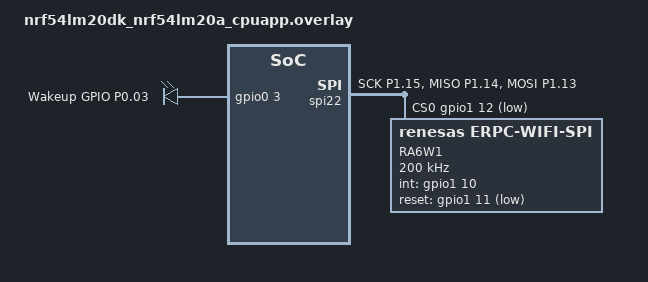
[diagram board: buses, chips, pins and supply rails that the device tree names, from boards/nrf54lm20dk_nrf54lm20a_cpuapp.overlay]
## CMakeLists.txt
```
cmake_minimum_required(VERSION 3.20.0)

find_package(Zephyr)
project(pnet_shell)

target_sources(app PRIVATE src/pnet_mqtt.c)
```

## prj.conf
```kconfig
# Copyright (c) 2025 Renesas Electronics Corporation
# SPDX-License-Identifier: Apache-2.0

CONFIG_POSIX_API=y
CONFIG_EVENTS=y

# GPIO Configuration
CONFIG_GPIO=y

# Wi-Fi Configuration
CONFIG_WIFI=y

# Shell
CONFIG_SHELL=y
CONFIG_SHELL_STACK_SIZE=10240

# Memory / stack
CONFIG_HEAP_MEM_POOL_SIZE=131072
CONFIG_INIT_STACKS=y
CONFIG_THREAD_STACK_INFO=y
CONFIG_STACK_CANARIES=y
CONFIG_SPIN_VALIDATE=n
CONFIG_MAIN_STACK_SIZE=10240
CONFIG_SYSTEM_WORKQUEUE_STACK_SIZE=10240
CONFIG_WIFI_ERPC_WIFI_WORKQ_STACK_SIZE=8192
CONFIG_WIFI_ERPC_WIFI_SERVER_THREAD_STACK_SIZE=8192
CONFIG_NET_SOCKETS_SERVICE_STACK_SIZE=4096
CONFIG_THREAD_LOCAL_STORAGE=n

# Network Configuration
CONFIG_NETWORKING=y
CONFIG_NET_NATIVE=y
CONFIG_NET_IPV4=y
CONFIG_NET_IPV6=n
CONFIG_NET_TCP=y
CONFIG_NET_DHCPV4=y
CONFIG_DNS_RESOLVER=y
CONFIG_DNS_RESOLVER_ADDITIONAL_QUERIES=2
CONFIG_NET_CONFIG_SETTINGS=y
CONFIG_NET_SOCKETS=y
CONFIG_NET_SOCKETS_OFFLOAD=y
CONFIG_NET_SOCKETS_DNS_TIMEOUT=5000
CONFIG_NET_SOCKETS_CONNECT_TIMEOUT=15000

# MQTT / TLS
CONFIG_MQTT_LIB=y
CONFIG_MQTT_LIB_TLS=y
CONFIG_TLS_CREDENTIALS=y
CONFIG_NET_SOCKETS_SOCKOPT_TLS=y
CONFIG_MBEDTLS=y
CONFIG_NET_CONFIG_AUTO_INIT=n

# PEM Certificate Format Support
CONFIG_MBEDTLS_PEM_CERTIFICATE_FORMAT=y

# mbedTLS Heap Configuration
CONFIG_MBEDTLS_ENABLE_HEAP=y
CONFIG_MBEDTLS_HEAP_SIZE=32768

# mbedTLS cipher suite support
#
# EC / ECDSA suites — CA, broker cert, client cert and private key are all
# EC P-256 (ECDSA).  ECDHE-ECDSA cipher suites are required for the TLS
# handshake to succeed.  RSA suites are not needed for this setup.
CONFIG_MBEDTLS_ECP_C=y
CONFIG_MBEDTLS_ECDH_C=y
CONFIG_MBEDTLS_ECDSA_C=y
CONFIG_MBEDTLS_ECP_DP_SECP256R1_ENABLED=y
CONFIG_MBEDTLS_KEY_EXCHANGE_ECDHE_ECDSA_ENABLED=y
#
# Common cipher / hash primitives
CONFIG_MBEDTLS_CIPHER_AES_ENABLED=y
CONFIG_MBEDTLS_CIPHER_GCM_ENABLED=y
CONFIG_MBEDTLS_SHA256=y
CONFIG_MBEDTLS_SHA384=y
CONFIG_MBEDTLS_SSL_MAX_CONTENT_LEN=2048

# Network management
CONFIG_NET_MGMT=y
CONFIG_NET_MGMT_EVENT=y
CONFIG_NET_MGMT_EVENT_INFO=y
CONFIG_NET_MGMT_EVENT_QUEUE_SIZE=10
CONFIG_NET_MGMT_EVENT_STACK_SIZE=4096
CONFIG_NET_CONNECTION_MANAGER=y

# Network buffers
CONFIG_NET_PKT_RX_COUNT=16
CONFIG_NET_PKT_TX_COUNT=16

# L2 drivers
CONFIG_NET_L2_ETHERNET=y
CONFIG_NET_L2_WIFI_MGMT=y

# LOG Configuration
CONFIG_LOG=y
CONFIG_LOG_MODE_IMMEDIATE=y
CONFIG_NET_LOG=n
CONFIG_WIFI_LOG_LEVEL_DBG=y
CONFIG_NET_SOCKETS_LOG_LEVEL_DBG=n
CONFIG_NET_L2_WIFI_MGMT_LOG_LEVEL_DBG=n
CONFIG_KERNEL_LOG_LEVEL_WRN=y

# Thread / fault debug
CONFIG_FAULT_DUMP=2
CONFIG_MPU_STACK_GUARD=y
CONFIG_HW_STACK_PROTECTION=y
CONFIG_THREAD_NAME=y
CONFIG_THREAD_MONITOR=y
CONFIG_DEBUG_THREAD_INFO=y
CONFIG_ASSERT=y
CONFIG_ASSERT_LEVEL=2
CONFIG_ASSERT_VERBOSE=y
CONFIG_SYS_HEAP_RUNTIME_STATS=y

# Enable RSA cipher suites for test.mosquitto.org
CONFIG_MBEDTLS_RSA_C=y
CONFIG_MBEDTLS_KEY_EXCHANGE_ECDHE_RSA_ENABLED=y
```

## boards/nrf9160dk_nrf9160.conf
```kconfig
CONFIG_TEST_RANDOM_GENERATOR=y
CONFIG_MAIN_STACK_SIZE=4096

CONFIG_SHELL=y
CONFIG_SERIAL=y
CONFIG_CONSOLE=y
CONFIG_UART_CONSOLE=y
CONFIG_PRINTK=y
CONFIG_LOG=y
CONFIG_LOG_BACKEND_UART=y
CONFIG_LOG_MODE_IMMEDIATE=y
```

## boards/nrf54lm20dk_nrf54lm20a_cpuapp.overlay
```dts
/*
 * Copyright (c) 2025 Renesas Electronics Corporation
 *
 * SPDX-License-Identifier: Apache-2.0
 */

/ {
    chosen {
        /delete-property/ zephyr,wifi;
	};

    aliases {
        wakeup-gpio = &gpio_wakeup;
    };

    gpio_wakeup {
        compatible = "gpio-leds";
        gpio_wakeup: wakeup_gpio {
           gpios = <&gpio0 3 (GPIO_ACTIVE_HIGH | GPIO_PULL_DOWN)>;
            label = "Wakeup GPIO P0.03";
        };
    };
};

&pinctrl {
    spi22_default: spi22_default {
        group1 {
            psels = <NRF_PSEL(SPIM_SCK, 1, 15)>,
                    <NRF_PSEL(SPIM_MISO, 1, 14)>,
                    <NRF_PSEL(SPIM_MOSI, 1, 13)>;
       
        };
    };
    spi22_sleep: spi22_sleep {
        group1 {
            psels = <NRF_PSEL(SPIM_SCK, 1, 15)>,
                    <NRF_PSEL(SPIM_MISO, 1, 14)>,
                    <NRF_PSEL(SPIM_MOSI, 1, 13)>;
           
            low-power-enable;
        };
    };
};

&spi22 {
    compatible = "nordic,nrf-spim";
    status = "okay";
    cs-gpios = <&gpio1 12 (GPIO_ACTIVE_LOW)>;
 
    pinctrl-0 = <&spi22_default>;
    pinctrl-1 = <&spi22_sleep>;
    pinctrl-names = "default", "sleep";
 
    ra6w1_erpc_wifi: ra6w1_erpc_wifi@0 {
        compatible = "renesas,erpc-wifi-spi";
        reg = <0>;
        label = "RA6W1";
        spi-max-frequency = <200000>;
        boot-duration-ms = <2000>;
        int-gpios = <&gpio1 10 (GPIO_ACTIVE_HIGH | GPIO_PULL_DOWN)>;
        reset-gpios = <&gpio1 11 GPIO_ACTIVE_LOW>;
        status = "okay";
    };
};
```

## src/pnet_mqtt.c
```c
#include <errno.h>
#include <stdbool.h>
#include <stdint.h>
#include <stdlib.h>
#include <string.h>

#include <zephyr/kernel.h>
#include <zephyr/net/mqtt.h>
#include <zephyr/net/net_if.h>
#include <zephyr/net/net_mgmt.h>
#include <zephyr/net/socket.h>
#include <zephyr/net/socket_offload.h>
#include <zephyr/net/wifi_mgmt.h>
#if defined(CONFIG_MQTT_LIB_TLS)
#include <zephyr/net/tls_credentials.h>
#include "ca_cert.h"
#endif
#include <zephyr/shell/shell.h>
#include <zephyr/sys/util.h>

#define PNET_MQTT_DEFAULT_BROKER_HOST "test.mosquitto.org"
#define PNET_MQTT_DEFAULT_BROKER_PORT 8883U
#define PNET_MQTT_DEFAULT_CLIENT_ID "pnet-shell-client"

#define PNET_MQTT_MAX_HOST_LEN 63
#define PNET_MQTT_MAX_CLIENT_ID_LEN 63

#define PNET_MQTT_IO_TIMEOUT_MS 6000
#define PNET_MQTT_WAKE_SETTLE_MS 300

static struct mqtt_client g_mqtt_client;
static struct sockaddr_storage g_mqtt_broker;
static uint8_t g_mqtt_rx_buf[1024];
static uint8_t g_mqtt_tx_buf[1024];

static bool g_mqtt_connected;
static bool g_mqtt_connack_received;
static bool g_mqtt_suback_received;
static bool g_mqtt_puback_received;
static uint16_t g_mqtt_puback_msg_id;
static int g_mqtt_last_evt_result;
static uint16_t g_mqtt_msg_id = 1U;
static bool g_in_dpm;

static bool g_mqtt_cfg_valid;
static char g_mqtt_broker_host[PNET_MQTT_MAX_HOST_LEN + 1];
static uint16_t g_mqtt_broker_port;
static char g_mqtt_client_id[PNET_MQTT_MAX_CLIENT_ID_LEN + 1];

#if defined(CONFIG_MQTT_LIB_TLS)
/* Security tag used to register the broker CA certificate.
 * Tag 42 is arbitrary — change if your application uses other tags.
 * To skip certificate verification during development, set
 * PNET_MQTT_TLS_PEER_VERIFY to TLS_PEER_VERIFY_NONE (0). Change to
 * TLS_PEER_VERIFY_REQUIRED (2) and supply a real CA in ca_cert.h for
 * production.
 */
#define PNET_MQTT_TLS_SEC_TAG 42
/* TLS_PEER_VERIFY_REQUIRED: broker certificate is verified against ROOT_CA.
 * Define PNET_MQTT_USE_CLIENT_CERT at build time to also present a client
 * certificate (mutual TLS — required for self-hosted brokers or port 8884).
 */
/* TLS_PEER_VERIFY_REQUIRED: broker server cert is verified against ROOT_CA.
 * This is a full mutual TLS setup — both sides present certificates.
 */
#define PNET_MQTT_TLS_PEER_VERIFY TLS_PEER_VERIFY_NONE
static sec_tag_t g_mqtt_sec_tags[] = { PNET_MQTT_TLS_SEC_TAG };
#endif /* CONFIG_MQTT_LIB_TLS */

static int pnet_mqtt_parse_u32(const char *s, uint32_t *out);

static int cmd_pmqtt_init(const struct shell *sh, size_t argc, char **argv)
{
	ARG_UNUSED(argc);
	ARG_UNUSED(argv);

	struct net_if *iface = net_if_get_default();

	if (iface == NULL) {
		shell_error(sh, "No default network interface");
		return 1;
	}

	net_if_up(iface);
	shell_print(sh, "wifi initialize successful: %s", net_if_get_config(iface)->name);
	shell_print(sh, "socket_offload_dns: %d", socket_offload_dns_is_enabled());

	return 0;
}

static int cmd_pmqtt_connect(const struct shell *sh, size_t argc, char *argv[])
{
	int rc;
	struct wifi_connect_req_params params = { 0 };
	struct net_if *iface = net_if_get_default();

	if (argc < 2 || argc > 3) {
		shell_error(sh, "Usage: pnet_mqtt connect <ssid> [psk]");
		return 1;
	}

	if (iface == NULL) {
		shell_error(sh, "No default network interface");
		return 1;
	}

	params.ssid = argv[1];
	params.ssid_length = strlen(argv[1]);
	params.channel = WIFI_CHANNEL_ANY;
	params.band = WIFI_FREQ_BAND_UNKNOWN;

	if (argc == 3) {
		params.psk = argv[2];
		params.psk_length = strlen(argv[2]);
		params.security = WIFI_SECURITY_TYPE_WPA_AUTO_PERSONAL;
	} else {
		params.security = WIFI_SECURITY_TYPE_NONE;
	}

	rc = net_mgmt(NET_REQUEST_WIFI_CONNECT, iface, &params, sizeof(params));
	if (rc != 0) {
		shell_error(sh, "Connect request failed (%d)", rc);
		return 1;
	}

	shell_print(sh, "Connect request sent");
	return 0;
}

static int pnet_ps_set_local(bool enable)
{
	struct net_if *iface = net_if_get_default();
	struct wifi_ps_params params = { 0 };
	int rc;

	if (iface == NULL) {
		return -ENODEV;
	}

	params.type = WIFI_PS_PARAM_STATE;
	params.enabled = enable ? WIFI_PS_ENABLED : WIFI_PS_DISABLED;
	rc = net_mgmt(NET_REQUEST_WIFI_PS, iface, &params, sizeof(params));
	if (rc != 0) {
		return -EIO;
	}

	return 0;
}

static int cmd_pmqtt_ps(const struct shell *sh, size_t argc, char *argv[])
{
	uint32_t enable_u32;

	if (argc != 2) {
		shell_error(sh, "Usage: pnet_mqtt ps <0|1>");
		return 1;
	}

	if (pnet_mqtt_parse_u32(argv[1], &enable_u32) != 0 || enable_u32 > 1U) {
		shell_error(sh, "Invalid PS value, use 0 or 1");
		return 1;
	}

	if (pnet_ps_set_local(enable_u32 != 0U) != 0) {
		shell_error(sh, "WIFI_PS_PARAM_STATE failed");
		return 1;
	}

	g_in_dpm = (enable_u32 != 0U);
	shell_print(sh, "PS set to %u", enable_u32);
	return 0;
}

static void pnet_mqtt_wake_for_io(const char *reason)
{
	ARG_UNUSED(reason);
	/* Temporarily disable Power Save only if it was enabled */
	if (g_in_dpm) {
		(void)pnet_ps_set_local(false);
		k_msleep(PNET_MQTT_WAKE_SETTLE_MS);
	}
}

static void pnet_mqtt_back_to_dpm(void)
{
	/* Re-enable Power Save only if it was originally requested by the user */
	if (g_mqtt_connected && g_in_dpm) {
		(void)pnet_ps_set_local(true);
	}
}

static uint16_t pnet_mqtt_next_msg_id(void)
{
	g_mqtt_msg_id++;
	if (g_mqtt_msg_id == 0U) {
		g_mqtt_msg_id = 1U;
	}

	return g_mqtt_msg_id;
}

static int pnet_mqtt_parse_u32(const char *s, uint32_t *out)
{
	char *endptr;
	unsigned long v;

	if (s == NULL || out == NULL) {
		return -EINVAL;
	}

	v = strtoul(s, &endptr, 10);
	if (*s == '\0' || *endptr != '\0' || v > UINT32_MAX) {
		return -EINVAL;
	}

	*out = (uint32_t)v;
	return 0;
}

static void pnet_mqtt_cfg_set(const char *host, uint16_t port, const char *client_id)
{
	snprintk(g_mqtt_broker_host, sizeof(g_mqtt_broker_host), "%s", host);
	g_mqtt_broker_port = port;
	snprintk(g_mqtt_client_id, sizeof(g_mqtt_client_id), "%s", client_id);
	g_mqtt_cfg_valid = true;
}

static void pnet_mqtt_evt_handler(struct mqtt_client *const c, const struct mqtt_evt *evt)
{
	ARG_UNUSED(c);

	switch (evt->type) {
	case MQTT_EVT_CONNACK:
		g_mqtt_connack_received = true;
		g_mqtt_last_evt_result = evt->result;
		if (evt->result == 0) {
			g_mqtt_connected = true;
		}
		break;
	case MQTT_EVT_DISCONNECT:
		g_mqtt_connected = false;
		g_mqtt_connack_received = false;
		g_mqtt_suback_received = false;
		g_mqtt_puback_received = false;
		break;
	case MQTT_EVT_SUBACK:
		g_mqtt_suback_received = true;
		g_mqtt_last_evt_result = evt->result;
		break;
	case MQTT_EVT_PUBACK:
		g_mqtt_puback_received = true;
		g_mqtt_puback_msg_id = evt->param.puback.message_id;
		g_mqtt_last_evt_result = evt->result;
		break;
	case MQTT_EVT_PUBLISH: {
		const struct mqtt_publish_param *pub = &evt->param.publish;
		size_t remaining = pub->message.payload.len;
		uint8_t dump[64];

		while (remaining > 0U) {
			int rd = mqtt_read_publish_payload_blocking(c, dump,
							       MIN(remaining, sizeof(dump)));
			if (rd <= 0) {
				break;
			}
			remaining -= (size_t)rd;
		}

		if (pub->message.topic.qos == MQTT_QOS_1_AT_LEAST_ONCE) {
			(void)mqtt_publish_qos1_ack(c,
						&(struct mqtt_puback_param){ .message_id = pub->message_id });
		}
		break;
	}
	default:
		break;
	}
}

static int pnet_mqtt_poll_once(int timeout_ms)
{
	struct zsock_pollfd pfd;
	int rc;
	int sock;

	/* Resolve the raw socket descriptor regardless of transport type. */
#if defined(CONFIG_MQTT_LIB_TLS)
	if (g_mqtt_client.transport.type == MQTT_TRANSPORT_SECURE) {
		sock = g_mqtt_client.transport.tls.sock;
	} else
#endif
	if (g_mqtt_client.transport.type == MQTT_TRANSPORT_NON_SECURE) {
		sock = g_mqtt_client.transport.tcp.sock;
	} else {
		return -ENOTCONN;
	}

	if (sock < 0) {
		return -ENOTCONN;
	}

	pfd.fd = sock;
	pfd.events = ZSOCK_POLLIN;
	pfd.revents = 0;

	rc = zsock_poll(&pfd, 1, timeout_ms);
	if (rc < 0) {
		return -errno;
	}

	if (rc > 0 && (pfd.revents & ZSOCK_POLLIN) != 0) {
		rc = mqtt_input(&g_mqtt_client);
		if (rc == -EAGAIN || rc == 0) {
			return 0;
		}
		if (rc < 0) {
			return rc;
		}
	}

	rc = mqtt_live(&g_mqtt_client);
	if (rc == -EAGAIN || rc == 0) {
		return 0;
	}

	return rc;
}

static int pnet_mqtt_wait_for_flag(bool *flag, int timeout_ms)
{
	int64_t end = k_uptime_get() + timeout_ms;

	while (!(*flag) && k_uptime_get() < end) {
		int rc = pnet_mqtt_poll_once(200);
		if (rc < 0) {
			return rc;
		}
	}

	return *flag ? 0 : -ETIMEDOUT;
}

static int pnet_mqtt_resolve_broker(const char *host, uint16_t port,
					struct sockaddr_storage *out)
{
	struct sockaddr_in *broker4 = (struct sockaddr_in *)out;
	struct zsock_addrinfo hints = { 0 };
	struct zsock_addrinfo *res = NULL;
	char port_s[8];
	int rc;

	memset(out, 0, sizeof(*out));

	broker4->sin_family = AF_INET;
	broker4->sin_port = htons(port);
	if (zsock_inet_pton(AF_INET, host, &broker4->sin_addr) == 1) {
		return 0;
	}

	hints.ai_family = AF_INET;
	hints.ai_socktype = SOCK_STREAM;
	snprintk(port_s, sizeof(port_s), "%u", (uint32_t)port);
	rc = zsock_getaddrinfo(host, port_s, &hints, &res);
	if (rc != 0 || res == NULL) {
		if (res != NULL) {
			zsock_freeaddrinfo(res);
		}
		return -EINVAL;
	}

	memcpy(out, res->ai_addr, MIN((size_t)res->ai_addrlen, sizeof(*out)));
	zsock_freeaddrinfo(res);
	return 0;
}

static int pnet_mqtt_setup_client(const char *host, uint16_t port, const char *client_id)
{
	int rc;

	memset(&g_mqtt_client, 0, sizeof(g_mqtt_client));
	memset(&g_mqtt_broker, 0, sizeof(g_mqtt_broker));

	rc = pnet_mqtt_resolve_broker(host, port, &g_mqtt_broker);
	if (rc != 0) {
		return rc;
	}

	mqtt_client_init(&g_mqtt_client);
	g_mqtt_client.broker = &g_mqtt_broker;
	g_mqtt_client.evt_cb = pnet_mqtt_evt_handler;
	g_mqtt_client.client_id.utf8 = (uint8_t *)client_id;
	g_mqtt_client.client_id.size = strlen(client_id);
	g_mqtt_client.keepalive = 120;
	g_mqtt_client.protocol_version = MQTT_VERSION_3_1_1;
	g_mqtt_client.rx_buf = g_mqtt_rx_buf;
	g_mqtt_client.rx_buf_size = sizeof(g_mqtt_rx_buf);
	g_mqtt_client.tx_buf = g_mqtt_tx_buf;
	g_mqtt_client.tx_buf_size = sizeof(g_mqtt_tx_buf);

#if defined(CONFIG_MQTT_LIB_TLS)
	if (port == 8883U) {
		/* Register CA certificate so the TLS stack can verify the broker.
		 * -EEXIST is returned if the tag was already registered; that is
		 * harmless — continue.
		 * When PNET_MQTT_TLS_PEER_VERIFY is TLS_PEER_VERIFY_NONE the CA
		 * is not checked, so sec_tag_count can safely be 0. Keeping it at
		 * 1 here so the same code path works when verification is enabled.
		 */
		int tls_rc = tls_credential_add(PNET_MQTT_TLS_SEC_TAG,
						TLS_CREDENTIAL_CA_CERTIFICATE,
						ca_pem, ca_pem_len);
		if (tls_rc != 0 && tls_rc != -EEXIST) {
			/* Surface exact credential registration failure to shell logs. */
			g_mqtt_last_evt_result = tls_rc;
			return tls_rc;
		}

		/* Register client certificate and private key for mutual TLS.
		 * The broker (require_certificate true) will request the client
		 * cert during the TLS handshake and verify it against ROOT_CA.
		 */
		tls_rc = tls_credential_add(PNET_MQTT_TLS_SEC_TAG,
					    TLS_CREDENTIAL_PUBLIC_CERTIFICATE,
					    client_cert_pem, client_cert_pem_len);
		if (tls_rc != 0 && tls_rc != -EEXIST) {
			g_mqtt_last_evt_result = tls_rc;
			return tls_rc;
		}

		tls_rc = tls_credential_add(PNET_MQTT_TLS_SEC_TAG,
					    TLS_CREDENTIAL_PRIVATE_KEY,
					    private_key_pem, private_key_pem_len);
		if (tls_rc != 0 && tls_rc != -EEXIST) {
			g_mqtt_last_evt_result = tls_rc;
			return tls_rc;
		}

		g_mqtt_client.transport.type = MQTT_TRANSPORT_SECURE;
		g_mqtt_client.transport.tls.config.peer_verify    = PNET_MQTT_TLS_PEER_VERIFY;
		g_mqtt_client.transport.tls.config.cipher_count   = 0;
		g_mqtt_client.transport.tls.config.cipher_list    = NULL;
		g_mqtt_client.transport.tls.config.sec_tag_count  =
				(PNET_MQTT_TLS_PEER_VERIFY == TLS_PEER_VERIFY_NONE)
				? 0U : ARRAY_SIZE(g_mqtt_sec_tags);
		g_mqtt_client.transport.tls.config.sec_tag_list   =
				(PNET_MQTT_TLS_PEER_VERIFY == TLS_PEER_VERIFY_NONE)
				? NULL : g_mqtt_sec_tags;
		g_mqtt_client.transport.tls.config.hostname       = host;
		g_mqtt_client.transport.tls.config.cert_nocopy    = 0;
	} else {
		g_mqtt_client.transport.type = MQTT_TRANSPORT_NON_SECURE;
	}
#else
	g_mqtt_client.transport.type = MQTT_TRANSPORT_NON_SECURE;
#endif /* CONFIG_MQTT_LIB_TLS */

	return 0;
}

static int pnet_mqtt_disconnect_internal(void)
{
	int sock = -1;

#if defined(CONFIG_MQTT_LIB_TLS)
	if (g_mqtt_client.transport.type == MQTT_TRANSPORT_SECURE) {
		sock = g_mqtt_client.transport.tls.sock;
	} else
#endif
	if (g_mqtt_client.transport.type == MQTT_TRANSPORT_NON_SECURE) {
		sock = g_mqtt_client.transport.tcp.sock;
	}

	if (sock >= 0) {
		(void)mqtt_disconnect(&g_mqtt_client, NULL);
		(void)zsock_close(sock);
	}

	g_mqtt_connected = false;
	g_mqtt_connack_received = false;
	g_mqtt_suback_received = false;
	g_mqtt_puback_received = false;
	g_mqtt_puback_msg_id = 0U;
	g_mqtt_last_evt_result = 0;
	memset(&g_mqtt_client, 0, sizeof(g_mqtt_client));

	return 0;
}

static int pnet_mqtt_connect_internal(const char *host, uint16_t port, const char *client_id)
{
	int rc;

	rc = pnet_mqtt_disconnect_internal();
	if (rc != 0) {
		return rc;
	}

	rc = pnet_mqtt_setup_client(host, port, client_id);
	if (rc != 0) {
		g_mqtt_last_evt_result = rc;
		return rc;
	}

	g_mqtt_connack_received = false;
	g_mqtt_last_evt_result = 0;

	rc = mqtt_connect(&g_mqtt_client);
	if (rc != 0) {
		g_mqtt_last_evt_result = rc;
		(void)pnet_mqtt_disconnect_internal();
		return rc;
	}

	rc = pnet_mqtt_wait_for_flag(&g_mqtt_connack_received, PNET_MQTT_IO_TIMEOUT_MS);
	if (rc != 0 || g_mqtt_last_evt_result != 0 || !g_mqtt_connected) {
		if (rc != 0 && g_mqtt_last_evt_result == 0) {
			g_mqtt_last_evt_result = rc;
		}
		(void)pnet_mqtt_disconnect_internal();
		return (rc != 0) ? rc : -EIO;
	}

	pnet_mqtt_cfg_set(host, port, client_id);
	return 0;
}

static int pnet_mqtt_ensure_connected(void)
{
	if (g_mqtt_connected) {
		return 0;
	}

	if (!g_mqtt_cfg_valid) {
		return -ENOTCONN;
	}

	return pnet_mqtt_connect_internal(g_mqtt_broker_host, g_mqtt_broker_port, g_mqtt_client_id);
}

int cmd_mqtt_connect(const struct shell *sh, size_t argc, char *argv[])
{
	const char *host = PNET_MQTT_DEFAULT_BROKER_HOST;
	const char *client_id = PNET_MQTT_DEFAULT_CLIENT_ID;
	uint32_t port_u32 = PNET_MQTT_DEFAULT_BROKER_PORT;
	uint16_t port;
	int rc;

	if (argc > 1) {
		host = argv[1];
	}
	if (argc > 2) {
		rc = pnet_mqtt_parse_u32(argv[2], &port_u32);
		if (rc != 0) {
			shell_error(sh, "Invalid port");
			return 1;
		}
	}
	if (argc > 3) {
		client_id = argv[3];
	}
	if (argc > 4) {
		shell_error(sh, "Usage: pnet mqtt_connect [broker_host_or_ip] [port] [client_id]");
		return 1;
	}
	if (port_u32 == 0U || port_u32 > UINT16_MAX) {
		shell_error(sh, "Invalid port");
		return 1;
	}

	port = (uint16_t)port_u32;

	pnet_mqtt_wake_for_io("mqtt_connect");
	rc = pnet_mqtt_connect_internal(host, port, client_id);
	pnet_mqtt_back_to_dpm();

	if (rc != 0) {
		shell_error(sh, "MQTT connect failed (%d), detail=%d", rc, g_mqtt_last_evt_result);
		return 1;
	}

	shell_print(sh, "MQTT connect successful: %s:%u", host, (uint32_t)port);
	return 0;
}

int cmd_mqtt_publish(const struct shell *sh, size_t argc, char *argv[])
{
	struct mqtt_publish_param param = { 0 };
	enum mqtt_qos qos = MQTT_QOS_0_AT_MOST_ONCE;
	uint32_t qos_u32 = 0U;
	uint16_t msg_id;
	int rc;

	if (argc < 3 || argc > 4) {
		shell_error(sh, "Usage: pnet mqtt_publish <topic> <payload> [qos:0|1]");
		return 1;
	}
	if (argc == 4) {
		rc = pnet_mqtt_parse_u32(argv[3], &qos_u32);
		if (rc != 0 || qos_u32 > 1U) {
			shell_error(sh, "Invalid qos, use 0 or 1");
			return 1;
		}
		qos = (qos_u32 == 0U) ? MQTT_QOS_0_AT_MOST_ONCE : MQTT_QOS_1_AT_LEAST_ONCE;
	}

	pnet_mqtt_wake_for_io("mqtt_publish");

	rc = pnet_mqtt_ensure_connected();
	if (rc != 0) {
		shell_error(sh, "MQTT not connected (%d)", rc);
		pnet_mqtt_back_to_dpm();
		return 1;
	}

	msg_id = pnet_mqtt_next_msg_id();
	param.message.topic.qos = qos;
	param.message.topic.topic.utf8 = (uint8_t *)argv[1];
	param.message.topic.topic.size = strlen(argv[1]);
	param.message.payload.data = (uint8_t *)argv[2];
	param.message.payload.len = strlen(argv[2]);
	param.message_id = msg_id;
	param.dup_flag = 0U;
	param.retain_flag = 0U;

	g_mqtt_puback_received = false;
	g_mqtt_puback_msg_id = 0U;
	g_mqtt_last_evt_result = 0;

	rc = mqtt_publish(&g_mqtt_client, &param);
	if (rc != 0) {
		shell_error(sh, "mqtt_publish failed (%d)", rc);
		pnet_mqtt_back_to_dpm();
		return 1;
	}

	if (qos == MQTT_QOS_1_AT_LEAST_ONCE) {
		rc = pnet_mqtt_wait_for_flag(&g_mqtt_puback_received, PNET_MQTT_IO_TIMEOUT_MS);
		if (rc != 0 || g_mqtt_last_evt_result != 0 || g_mqtt_puback_msg_id != msg_id) {
			shell_error(sh, "MQTT PUBACK failed (%d, evt=%d)", rc, g_mqtt_last_evt_result);
			pnet_mqtt_back_to_dpm();
			return 1;
		}
	} else {
		(void)pnet_mqtt_poll_once(100);
	}

	shell_print(sh, "MQTT publish successful: topic=%s qos=%u", argv[1],
		    (qos == MQTT_QOS_0_AT_MOST_ONCE) ? 0U : 1U);
	pnet_mqtt_back_to_dpm();
	return 0;
}

int cmd_mqtt_subscribe(const struct shell *sh, size_t argc, char *argv[])
{
	struct mqtt_topic topic = { 0 };
	struct mqtt_subscription_list sub_list = { 0 };
	enum mqtt_qos qos = MQTT_QOS_1_AT_LEAST_ONCE;
	uint32_t qos_u32 = 1U;
	int rc;

	if (argc < 2 || argc > 3) {
		shell_error(sh, "Usage: pnet mqtt_subscribe <topic> [qos:0|1]");
		return 1;
	}
	if (argc == 3) {
		rc = pnet_mqtt_parse_u32(argv[2], &qos_u32);
		if (rc != 0 || qos_u32 > 1U) {
			shell_error(sh, "Invalid qos, use 0 or 1");
			return 1;
		}
		qos = (qos_u32 == 0U) ? MQTT_QOS_0_AT_MOST_ONCE : MQTT_QOS_1_AT_LEAST_ONCE;
	}

	pnet_mqtt_wake_for_io("mqtt_subscribe");

	rc = pnet_mqtt_ensure_connected();
	if (rc != 0) {
		shell_error(sh, "MQTT not connected (%d)", rc);
		pnet_mqtt_back_to_dpm();
		return 1;
	}

	topic.topic.utf8 = (uint8_t *)argv[1];
	topic.topic.size = strlen(argv[1]);
	topic.qos = qos;

	sub_list.list = &topic;
	sub_list.list_count = 1U;
	sub_list.message_id = pnet_mqtt_next_msg_id();

	g_mqtt_suback_received = false;
	g_mqtt_last_evt_result = 0;

	rc = mqtt_subscribe(&g_mqtt_client, &sub_list);
	if (rc != 0) {
		shell_error(sh, "mqtt_subscribe failed (%d)", rc);
		pnet_mqtt_back_to_dpm();
		return 1;
	}

	rc = pnet_mqtt_wait_for_flag(&g_mqtt_suback_received, PNET_MQTT_IO_TIMEOUT_MS);
	if (rc != 0 || g_mqtt_last_evt_result != 0) {
		shell_error(sh, "MQTT SUBACK failed (%d, evt=%d)", rc, g_mqtt_last_evt_result);
		pnet_mqtt_back_to_dpm();
		return 1;
	}

	shell_print(sh, "MQTT subscribe successful: topic=%s qos=%u", argv[1],
		    (qos == MQTT_QOS_0_AT_MOST_ONCE) ? 0U : 1U);
	pnet_mqtt_back_to_dpm();
	return 0;
}

int cmd_mqtt_disconnect(const struct shell *sh, size_t argc, char *argv[])
{
	ARG_UNUSED(argc);
	ARG_UNUSED(argv);

	pnet_mqtt_wake_for_io("mqtt_disconnect");
	(void)pnet_mqtt_disconnect_internal();
	(void)pnet_ps_set_local(true);
	shell_print(sh, "MQTT disconnect successful");
	g_in_dpm = true;
	return 0;
}

SHELL_STATIC_SUBCMD_SET_CREATE(pnet_mqtt_subcmds,
		SHELL_CMD_ARG(init, NULL,
		  "init wifi interface",
		  cmd_pmqtt_init, 1, 0),
		SHELL_CMD_ARG(connect, NULL,
		  "connect <ssid> [psk]",
		  cmd_pmqtt_connect, 2, 1),
		SHELL_CMD_ARG(ps, NULL,
		  "ps <0|1>",
		  cmd_pmqtt_ps, 2, 0),
		SHELL_CMD_ARG(mqtt_connect, NULL,
		  "mqtt_connect [broker_host_or_ip] [port] [client_id]",
		  cmd_mqtt_connect, 1, 3),
		SHELL_CMD_ARG(mqtt_publish, NULL,
		  "mqtt_publish <topic> <payload> [qos:0|1]",
		  cmd_mqtt_publish, 3, 1),
		SHELL_CMD_ARG(mqtt_subscribe, NULL,
		  "mqtt_subscribe <topic> [qos:0|1]",
		  cmd_mqtt_subscribe, 2, 1),
		SHELL_CMD_ARG(mqtt_disconnect, NULL,
		  "mqtt_disconnect",
		  cmd_mqtt_disconnect, 1, 0),
		SHELL_SUBCMD_SET_END);

SHELL_CMD_REGISTER(pnet_mqtt, &pnet_mqtt_subcmds,
		   "standalone MQTT commands for use with pnet init/connect/ps",
		   NULL);
```
